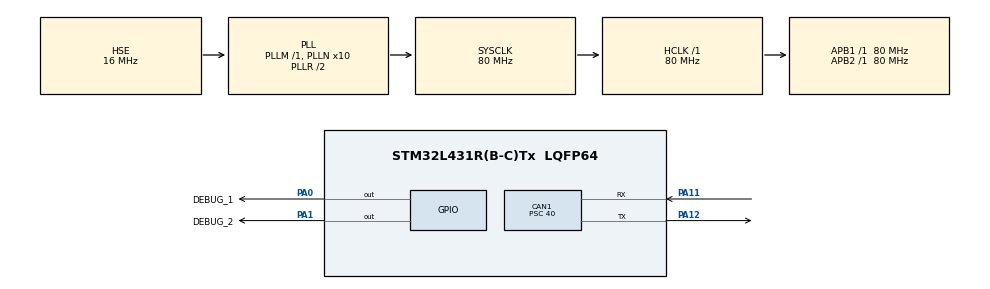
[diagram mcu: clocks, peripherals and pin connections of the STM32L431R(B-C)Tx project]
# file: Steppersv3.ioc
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CAN1.AWUM=DISABLE
CAN1.BS1=CAN_BS1_13TQ
CAN1.BS2=CAN_BS2_2TQ
CAN1.CalculateBaudRate=125000
CAN1.CalculateTimeBit=8000
CAN1.CalculateTimeQuantum=500.0
CAN1.Mode=CAN_MODE_NORMAL
CAN1.NART=DISABLE
CAN1.Prescaler=40
CAN1.SJW=CAN_SJW_1TQ
Mcu.Family=STM32L4
Mcu.Name=STM32L431R(B-C)Tx
Mcu.Package=LQFP64
NVIC.PriorityGroup=NVIC_PRIORITYGROUP_4
PA0.GPIO_Label=DEBUG_1
PA0.Signal=GPIO_Output
PA1.GPIO_Label=DEBUG_2
PA1.Signal=GPIO_Output
PA11.GPIO_PuPd=GPIO_NOPULL
PA11.Mode=CAN_Activate
PA11.Signal=CAN1_RX
PA12.Mode=CAN_Activate
PA12.Signal=CAN1_TX
PH0-OSC_IN\ (PH0).Mode=HSE-External-Oscillator
PH0-OSC_IN\ (PH0).Signal=RCC_OSC_IN
PH1-OSC_OUT\ (PH1).Mode=HSE-External-Oscillator
PH1-OSC_OUT\ (PH1).Signal=RCC_OSC_OUT
ProjectManager.HeapSize=0x200
ProjectManager.StackSize=0x400
ProjectManager.TargetToolchain=STM32CubeIDE
RCC.ADCFreq_Value=64000000
RCC.AHBFreq_Value=80000000
RCC.APB1Freq_Value=80000000
RCC.APB1TimFreq_Value=80000000
RCC.APB2Freq_Value=80000000
RCC.APB2TimFreq_Value=80000000
RCC.CortexFreq_Value=80000000
RCC.HCLKFreq_Value=80000000
RCC.HSE_VALUE=16000000
RCC.HSI48_VALUE=48000000
RCC.HSI_VALUE=16000000
RCC.LSE_VALUE=32768
RCC.MSIClockRange=RCC_MSIRANGE_8
RCC.MSI_VALUE=16000000
RCC.PLLN=10
RCC.PLLSourceVirtual=RCC_PLLSOURCE_HSE
RCC.SYSCLKFreq_VALUE=80000000
RCC.SYSCLKSource=RCC_SYSCLKSOURCE_PLLCLK
RCC.VCOOutputFreq_Value=160000000
board=custom

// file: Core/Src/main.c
/* USER CODE BEGIN Header */
/**
  ******************************************************************************
  * @file           : main.c
  * @brief          : Main program body
  ******************************************************************************
  * @attention
  *
  * Copyright (c) 2023 STMicroelectronics.
  * All rights reserved.
  *
  * This software is licensed under terms that can be found in the LICENSE file
  * in the root directory of this software component.
  * If no LICENSE file comes with this software, it is provided AS-IS.
  *
  ******************************************************************************
  */
/* USER CODE END Header */
#include "main.h"

/* USER CODE BEGIN Includes */
#include "stdbool.h"
/* USER CODE END Includes */

CAN_HandleTypeDef hcan1;

void SystemClock_Config(void);
static void MX_GPIO_Init(void);
static void MX_CAN1_Init(void);

/* USER CODE BEGIN 0 */
#define SUCCESS_CAN_MSG 0x2
#define FAILURE_CAN_MSG 0x1
CAN_RxHeaderTypeDef rxHeader;
//Jetson Xavier THROTTLE
#define THROTTLE_POS 0x334
#define THROTTLE_MAX 0x335
#define THROTTLE_SEND 0X223
uint8_t g_throttleModule;
uint8_t g_stateThrottle;
uint8_t pot_position;
uint8_t max_velocity;
CAN_TxHeaderTypeDef TxHeader;
uint8_t CarTxData[] = {0x04};
uint8_t buf[8];

/* USER CODE END 0 */

int main(void)
{

  /* MCU Configuration--------------------------------------------------------*/

  /* Reset of all peripherals, Initializes the Flash interface and the Systick. */
  HAL_Init();

  /* Configure the system clock */
  SystemClock_Config();

  /* Initialize all configured peripherals */
  MX_GPIO_Init();
  MX_CAN1_Init();
  /* USER CODE BEGIN 2 */
  bool initializingBus = false;
  /* USER CODE END 2 */

  /* Infinite loop */
  while (1)
  {

    /* USER CODE BEGIN 3 */

    {
      // Check for bus off bit
      if(READ_BIT(hcan1.Instance->ESR, CAN_ESR_BOFF)){
        // Bus is off!!!! Reset bus
        SET_BIT(hcan1.Instance->MCR, CAN_MCR_INRQ);
        initializingBus = true;
        continue;
      }
      if(initializingBus && READ_BIT(hcan1.Instance->MSR,
      CAN_MSR_INAK)){
        // Bus is initialized, reset init bit
        CLEAR_BIT(hcan1.Instance->MCR, CAN_MCR_INRQ);
        initializingBus = false;
      }
    }

	  uint32_t TxMailbox;
	  TxHeader.StdId = 0x180;
	  TxHeader.IDE = CAN_ID_STD;
	  TxHeader.RTR = CAN_RTR_DATA;
	  TxHeader.DLC = 1;
	  TxHeader.TransmitGlobalTime = DISABLE;
	  CarTxData[0] = SUCCESS_CAN_MSG;
    if (HAL_CAN_GetTxMailboxesFreeLevel(&hcan1) != 0) {
      if(HAL_CAN_AddTxMessage(&hcan1, &TxHeader, CarTxData, &TxMailbox)== HAL_OK) {
        HAL_GPIO_WritePin(GPIOA, DEBUG_1_Pin, GPIO_PIN_SET);
        HAL_GPIO_WritePin(GPIOA, DEBUG_2_Pin, GPIO_PIN_SET);
          if(!HAL_CAN_IsTxMessagePending(&hcan1, TxMailbox)){
            printf("Message sent 1\n");
          }
          else{
            printf("Message pending 1\n");
          }
        } else{
              HAL_CAN_ResetError(&hcan1);
        }
    } else{
      HAL_GPIO_WritePin(GPIOA, DEBUG_1_Pin, GPIO_PIN_RESET);
      HAL_GPIO_WritePin(GPIOA, DEBUG_2_Pin, GPIO_PIN_RESET);
    }
    HAL_Delay(1000);
  }
  /* USER CODE END 3 */
}

void SystemClock_Config(void)
{
  RCC_OscInitTypeDef RCC_OscInitStruct = {0};
  RCC_ClkInitTypeDef RCC_ClkInitStruct = {0};

  /** Configure the main internal regulator output voltage
  */
  if (HAL_PWREx_ControlVoltageScaling(PWR_REGULATOR_VOLTAGE_SCALE1) != HAL_OK)
  {
    Error_Handler();
  }

  /** Initializes the RCC Oscillators according to the specified parameters
  * in the RCC_OscInitTypeDef structure.
  */
  RCC_OscInitStruct.OscillatorType = RCC_OSCILLATORTYPE_HSE;
  RCC_OscInitStruct.HSEState = RCC_HSE_ON;
  RCC_OscInitStruct.PLL.PLLState = RCC_PLL_ON;
  RCC_OscInitStruct.PLL.PLLSource = RCC_PLLSOURCE_HSE;
  RCC_OscInitStruct.PLL.PLLM = 1;
  RCC_OscInitStruct.PLL.PLLN = 10;
  RCC_OscInitStruct.PLL.PLLP = RCC_PLLP_DIV7;
  RCC_OscInitStruct.PLL.PLLQ = RCC_PLLQ_DIV2;
  RCC_OscInitStruct.PLL.PLLR = RCC_PLLR_DIV2;
  if (HAL_RCC_OscConfig(&RCC_OscInitStruct) != HAL_OK)
  {
    Error_Handler();
  }

  /** Initializes the CPU, AHB and APB buses clocks
  */
  RCC_ClkInitStruct.ClockType = RCC_CLOCKTYPE_HCLK|RCC_CLOCKTYPE_SYSCLK
                              |RCC_CLOCKTYPE_PCLK1|RCC_CLOCKTYPE_PCLK2;
  RCC_ClkInitStruct.SYSCLKSource = RCC_SYSCLKSOURCE_PLLCLK;
  RCC_ClkInitStruct.AHBCLKDivider = RCC_SYSCLK_DIV1;
  RCC_ClkInitStruct.APB1CLKDivider = RCC_HCLK_DIV1;
  RCC_ClkInitStruct.APB2CLKDivider = RCC_HCLK_DIV1;

  if (HAL_RCC_ClockConfig(&RCC_ClkInitStruct, FLASH_LATENCY_4) != HAL_OK)
  {
    Error_Handler();
  }
}

static void MX_CAN1_Init(void)
{

  hcan1.Instance = CAN1;
  hcan1.Init.Prescaler = 40;
  hcan1.Init.Mode = CAN_MODE_NORMAL;
  hcan1.Init.SyncJumpWidth = CAN_SJW_1TQ;
  hcan1.Init.TimeSeg1 = CAN_BS1_13TQ;
  hcan1.Init.TimeSeg2 = CAN_BS2_2TQ;
  hcan1.Init.TimeTriggeredMode = DISABLE;
  hcan1.Init.AutoBusOff = DISABLE;
  hcan1.Init.AutoWakeUp = DISABLE;
  hcan1.Init.AutoRetransmission = DISABLE;
  hcan1.Init.ReceiveFifoLocked = DISABLE;
  hcan1.Init.TransmitFifoPriority = DISABLE;
  if (HAL_CAN_Init(&hcan1) != HAL_OK)
  {
    Error_Handler();
  }
  /* USER CODE BEGIN CAN1_Init 2 */
  CAN_FilterTypeDef canfilterconfig;
  canfilterconfig.FilterActivation = CAN_FILTER_ENABLE;
  canfilterconfig.FilterBank = 1;		// Specify filter bank to use
  canfilterconfig.FilterFIFOAssignment = CAN_FILTER_FIFO0; //Incoming data is saved here
  canfilterconfig.FilterIdHigh = 0x100<<5;//0x000<<5;
  canfilterconfig.FilterIdLow = 0x0000;
  canfilterconfig.FilterMaskIdHigh= 0xF00<<5;//0x600<<5;
  canfilterconfig.FilterMaskIdLow = 0x0000;
  canfilterconfig.FilterMode = CAN_FILTERMODE_IDMASK;
  canfilterconfig.FilterScale = CAN_FILTERSCALE_32BIT;
  canfilterconfig.SlaveStartFilterBank = 9;
  if (HAL_CAN_ConfigFilter(&hcan1, &canfilterconfig) != HAL_OK)
  {
  Error_Handler();
  }
  if(HAL_CAN_Start(&hcan1)!= HAL_OK)
  {
    Error_Handler();
  }

  if (HAL_CAN_ActivateNotification(&hcan1, CAN_IT_RX_FIFO0_MSG_PENDING) != HAL_OK)
  {
  /* Notification Error */
  Error_Handler();
  }
  /* USER CODE END CAN1_Init 2 */

}

static void MX_GPIO_Init(void)
{
  GPIO_InitTypeDef GPIO_InitStruct = {0};

  /* GPIO Ports Clock Enable */
  __HAL_RCC_GPIOH_CLK_ENABLE();
  __HAL_RCC_GPIOA_CLK_ENABLE();

  /*Configure GPIO pin Output Level */
  HAL_GPIO_WritePin(GPIOA, DEBUG_1_Pin|DEBUG_2_Pin, GPIO_PIN_RESET);

  /*Configure GPIO pins : DEBUG_1_Pin DEBUG_2_Pin */
  GPIO_InitStruct.Pin = DEBUG_1_Pin|DEBUG_2_Pin;
  GPIO_InitStruct.Mode = GPIO_MODE_OUTPUT_PP;
  GPIO_InitStruct.Pull = GPIO_NOPULL;
  GPIO_InitStruct.Speed = GPIO_SPEED_FREQ_LOW;
  HAL_GPIO_Init(GPIOA, &GPIO_InitStruct);

}

void Error_Handler(void)
{
  __disable_irq();
  while (1)
  {
  }
}
